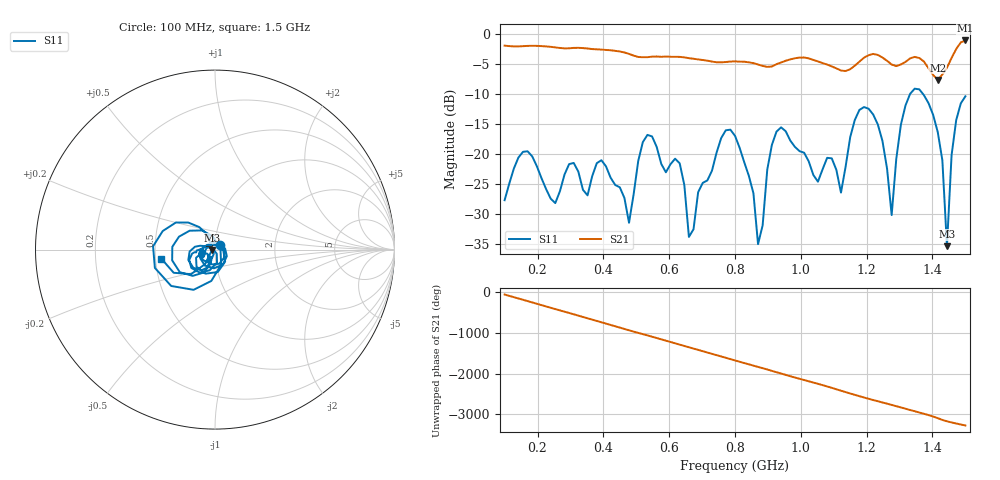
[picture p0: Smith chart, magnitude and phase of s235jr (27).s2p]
! NanoVNA-App
! Date: 2025-09-26 09:45:00
! Start: 100MHz Stop: 1,5GHz Points: 101
! S-Parameter data: F S11 S21 S12 S22
# Hz S RI R 50
!  Frequency  S11_Real  S11_Imag  S21_Real  S21_Imag  S12_Real  S12_Imag  S22_Real  S22_Imag
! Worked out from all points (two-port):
!   101 points, 100 MHz to 1.5 GHz, reference 50 ohm
!   highest |S21| = -1.09 dB at 1.5 GHz (marker M1); lowest = -7.7 dB at 1.416 GHz (marker M2)
!   |S21| within 3 dB of the highest: start of sweep to 667 MHz; 1.189 GHz to 1.252 GHz (62.69 MHz wide, 5.14 % of centre) (the widest 2 of 5)
!   lowest |S11| = -35.3 dB at 1.444 GHz (marker M3), VSWR 1.03, Z = 48.3 - j0.179 ohm
!   |S11| at or under -10 dB: start of sweep to 1.332 GHz; 1.371 GHz to end of sweep
!   S12 and S22 are empty: the file has one direction only
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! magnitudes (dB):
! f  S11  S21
! 100 MHz  -27.7  -2.0
! 156 MHz  -19.6  -2.0
! 338 MHz  -25.9  -2.4
! 394 MHz  -21.0  -2.6
! 478 MHz  -31.4  -3.3
! 520 MHz  -18.0  -3.9
! 576 MHz  -21.6  -3.8
! 632 MHz  -21.5  -3.8
! 660 MHz  -33.8  -4.0
! 800 MHz  -17.0  -4.6
! 870 MHz  -35.0  -5.1
! 926 MHz  -16.3  -5.0
! 1.038 GHz  -23.5  -4.3
! 1.122 GHz  -26.4  -6.1
! 1.206 GHz  -12.5  -3.5
! 1.248 GHz  -17.8  -3.9
! 1.276 GHz  -30.2  -5.1
! 1.332 GHz  -10.0  -4.1
! 1.416 GHz  -16.3  -7.7
! 1.444 GHz  -35.3  -5.6
! 1.458 GHz  -20.2  -4.0
! 1.5 GHz  -10.4  -1.1
